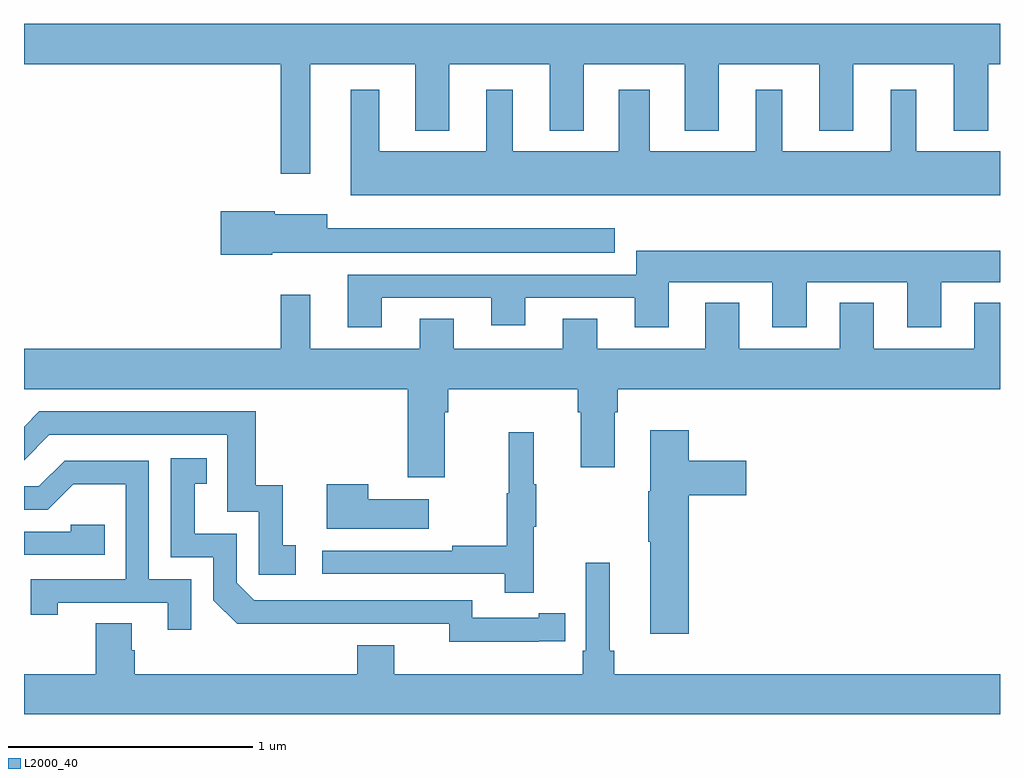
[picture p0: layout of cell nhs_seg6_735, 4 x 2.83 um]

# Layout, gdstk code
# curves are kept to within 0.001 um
import gdstk
lib = gdstk.Library(unit=1e-6, precision=1e-09)
def P(c, l, *ps):  # polygons
    for p in ps: c.add(gdstk.Polygon(p, *l))
L2000_40 = (2000, 40)

nhs_seg6_735 = lib.new_cell('nhs_seg6_735')
P(nhs_seg6_735, L2000_40, [(157,964.652),(158.052,964.652),(158.052,964.203),(158.173,964.203),(158.173,964.652),(158.603,964.652),(158.603,964.379),(158.743,964.379),(158.743,964.652),(159.155,964.652),(159.155,964.379),(159.295,964.379),(159.295,964.652),(159.707,964.652),(159.707,964.379),(159.847,964.379),(159.847,964.652),(160.259,964.652),(160.259,964.379),(160.399,964.379),(160.399,964.652),(160.811,964.652),(160.811,964.379),(160.951,964.379),(160.951,964.652),(161,964.652),(161,964.816),(157,964.816)],
  [(161,964.294),(160.657,964.294),(160.657,964.546),(160.553,964.546),(160.553,964.294),(160.108,964.294),(160.108,964.546),(159.998,964.546),(159.998,964.294),(159.565,964.294),(159.565,964.546),(159.437,964.546),(159.437,964.294),(159.004,964.294),(159.004,964.546),(158.894,964.546),(158.894,964.294),(158.455,964.294),(158.455,964.546),(158.339,964.546),(158.339,964.115),(161,964.115)],
  [(158.018,963.878),(159.421,963.878),(159.421,963.979),(158.242,963.979),(158.242,964.036),(158.028,964.036),(158.028,964.049),(157.806,964.049),(157.806,963.871),(158.018,963.871)],
  [(158.467,963.693),(158.915,963.693),(158.915,963.581),(159.055,963.581),(159.055,963.693),(159.503,963.693),(159.503,963.573),(159.643,963.573),(159.643,963.758),(160.067,963.758),(160.067,963.573),(160.207,963.573),(160.207,963.758),(160.619,963.758),(160.619,963.573),(160.759,963.573),(160.759,963.758),(161,963.758),(161,963.886),(159.509,963.886),(159.509,963.789),(158.327,963.789),(158.327,963.573),(158.467,963.573)],
  [(161,963.673),(160.895,963.673),(160.895,963.484),(160.483,963.484),(160.483,963.673),(160.343,963.673),(160.343,963.484),(159.931,963.484),(159.931,963.673),(159.791,963.673),(159.791,963.484),(159.349,963.484),(159.349,963.608),(159.209,963.608),(159.209,963.484),(158.761,963.484),(158.761,963.608),(158.621,963.608),(158.621,963.484),(158.173,963.484),(158.173,963.706),(158.052,963.706),(158.052,963.484),(157,963.484),(157,963.32),(158.573,963.32),(158.573,962.958),(158.725,962.958),(158.725,963.224),(158.738,963.224),(158.738,963.32),(159.269,963.32),(159.269,963.224),(159.281,963.224),(159.281,963),(159.421,963),(159.421,963.224),(159.434,963.224),(159.434,963.32),(161,963.32)],
  [(158.113,962.679),(158.06,962.679),(158.06,962.926),(157.949,962.926),(157.949,963.228),(157.062,963.228),(157,963.166),(157,963.028),(157.104,963.132),(157.833,963.132),(157.833,962.817),(157.962,962.817),(157.962,962.559),(158.113,962.559)],
  [(159.725,962.885),(159.961,962.885),(159.961,963.027),(159.725,963.027),(159.725,963.151),(159.566,963.151),(159.566,962.901),(159.559,962.901),(159.559,962.695),(159.566,962.695),(159.566,962.316),(159.725,962.316)],
  [(159.089,962.755),(159.1,962.755),(159.1,962.929),(159.089,962.929),(159.089,963.142),(158.986,963.142),(158.986,962.892),(158.979,962.892),(158.979,962.678),(158.755,962.678),(158.755,962.658),(158.223,962.658),(158.223,962.562),(158.971,962.562),(158.971,962.484),(159.089,962.484)],
  [(159.11,962.286),(159.218,962.286),(159.218,962.402),(159.11,962.402),(159.11,962.382),(158.838,962.382),(158.838,962.454),(157.944,962.454),(157.872,962.526),(157.872,962.727),(157.699,962.727),(157.699,962.931),(157.748,962.931),(157.748,963.037),(157.602,963.037),(157.602,962.631),(157.776,962.631),(157.776,962.454),(157.874,962.357),(158.742,962.358),(158.742,962.285)],
  [(157.686,962.541),(157.512,962.541),(157.512,963.027),(157.166,963.027),(157.061,962.922),(157,962.922),(157,962.826),(157.098,962.826),(157.202,962.93),(157.416,962.93),(157.416,962.541),(157.027,962.541),(157.027,962.394),(157.138,962.394),(157.138,962.445),(157.589,962.445),(157.589,962.334),(157.686,962.334)],
  [(158.659,962.869),(158.411,962.869),(158.411,962.929),(158.24,962.929),(158.24,962.747),(158.659,962.747)],
  [(157.331,962.763),(157.191,962.763),(157.191,962.736),(157,962.736),(157,962.64),(157.331,962.64)],
  [(161,962.152),(159.419,962.152),(159.419,962.248),(159.4,962.248),(159.4,962.608),(159.303,962.608),(159.303,962.248),(159.29,962.248),(159.29,962.152),(158.518,962.152),(158.518,962.269),(158.366,962.269),(158.366,962.152),(157.454,962.152),(157.454,962.25),(157.441,962.25),(157.441,962.36),(157.294,962.36),(157.294,962.152),(157,962.152),(157,961.988),(161,961.988)])

lib.write_gds('nhs_seg6_735.gds')
